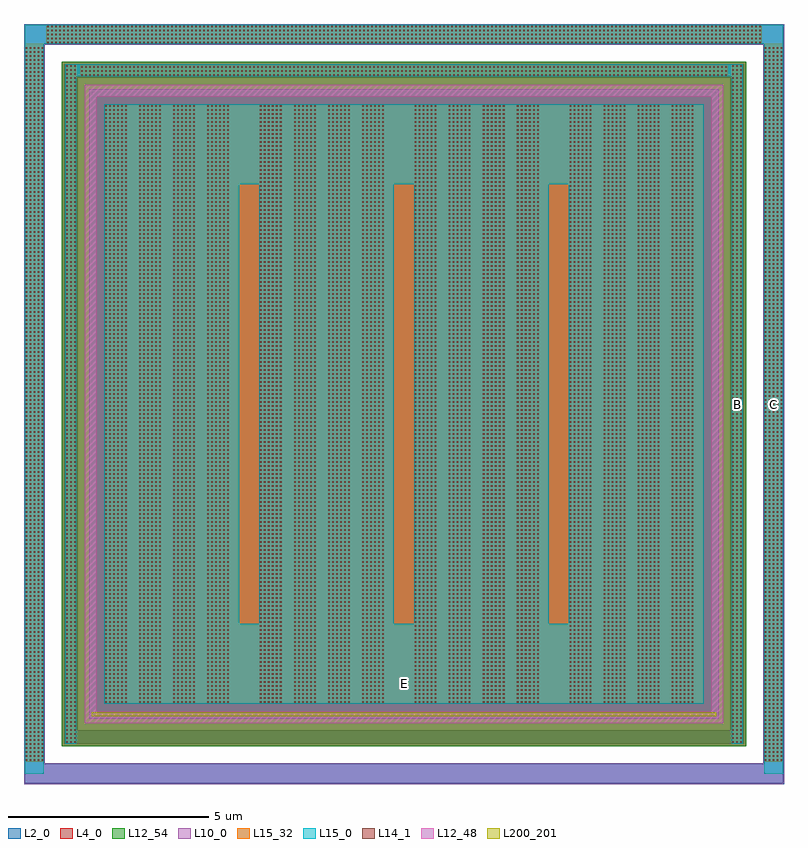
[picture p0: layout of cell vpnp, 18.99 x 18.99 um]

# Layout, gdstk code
import gdstk
lib = gdstk.Library(unit=1e-6, precision=1e-09)
def R(c, l, rs):  # rectangles x0, y0, x1, y1
    for r in rs: c.add(gdstk.rectangle(r[:2], r[2:], *l))
def A(c, l, x, y, w, h, nx, ny, dx, dy):  # array of equal rectangles
    R(c, l, [(x+i*dx, y+j*dy, x+i*dx+w, y+j*dy+h) for i in range(nx) for j in range(ny)])
L2_0 = (2, 0)
L4_0 = (4, 0)
L10_0 = (10, 0)
L12_48 = (12, 48)
L12_54 = (12, 54)
L14_1 = (14, 1)
L15_0 = (15, 0)
L15_32 = (15, 32)
L200_201 = (200, 201)

vpnp = lib.new_cell('vpnp')
R(vpnp, L2_0, [(-15.979,-8.009,2.973,-7.529), (-15.979,-7.529,-15.499,10.463), (2.493,-7.529,2.973,10.463), (-14.999,-7.029,1.993,-6.689), (-14.999,-6.689,-14.659,9.623), (1.653,-6.689,1.993,9.623), (-14.303,-6.333,1.297,9.267), (-14.999,9.623,1.993,9.963), (-15.979,10.463,2.973,10.943)])
R(vpnp, L4_0, [(-15.055,-7.085,2.049,10.019)])
R(vpnp, L10_0, [(-16,-8.03,2.994,-7.508), (-16,-7.508,-15.478,10.442), (2.472,-7.508,2.994,10.442), (-14.373,-6.403,1.367,9.337), (-16,10.442,2.994,10.964)])
R(vpnp, L12_48, [(-14.484,-6.514,1.478,-6.208), (-14.484,-6.208,-14.178,9.142), (1.172,-6.208,1.478,9.142), (-14.484,9.142,1.478,9.448)])
R(vpnp, L12_54, [(-15.055,-7.085,2.049,10.019)])
A(vpnp, L14_1, -15.959, -7.453, 0.04, 0.04, 5, 179, 0.1, 0.1)
A(vpnp, L14_1, 2.513, -7.453, 0.04, 0.04, 5, 179, 0.1, 0.1)
A(vpnp, L14_1, -14.949, -7.003, 0.04, 0.04, 3, 170, 0.1, 0.1)
A(vpnp, L14_1, 1.703, -7.003, 0.04, 0.04, 3, 170, 0.1, 0.1)
A(vpnp, L14_1, -13.973, -6.003, 0.04, 0.04, 6, 150, 0.1, 0.1)
A(vpnp, L14_1, -13.121, -6.003, 0.04, 0.04, 6, 150, 0.1, 0.1)
A(vpnp, L14_1, -12.269, -6.003, 0.04, 0.04, 6, 150, 0.1, 0.1)
A(vpnp, L14_1, -11.417, -6.003, 0.04, 0.04, 6, 150, 0.1, 0.1)
A(vpnp, L14_1, -10.104, -6.003, 0.04, 0.04, 6, 150, 0.1, 0.1)
A(vpnp, L14_1, -9.252, -6.003, 0.04, 0.04, 6, 150, 0.1, 0.1)
A(vpnp, L14_1, -8.4, -6.003, 0.04, 0.04, 6, 150, 0.1, 0.1)
A(vpnp, L14_1, -7.548, -6.003, 0.04, 0.04, 6, 150, 0.1, 0.1)
A(vpnp, L14_1, -6.235, -6.003, 0.04, 0.04, 6, 150, 0.1, 0.1)
A(vpnp, L14_1, -5.383, -6.003, 0.04, 0.04, 6, 150, 0.1, 0.1)
A(vpnp, L14_1, -4.531, -6.003, 0.04, 0.04, 6, 150, 0.1, 0.1)
A(vpnp, L14_1, -3.679, -6.003, 0.04, 0.04, 6, 150, 0.1, 0.1)
A(vpnp, L14_1, -2.366, -6.003, 0.04, 0.04, 6, 150, 0.1, 0.1)
A(vpnp, L14_1, -1.514, -6.003, 0.04, 0.04, 6, 150, 0.1, 0.1)
A(vpnp, L14_1, -0.662, -6.003, 0.04, 0.04, 6, 150, 0.1, 0.1)
A(vpnp, L14_1, 0.19, -6.003, 0.04, 0.04, 6, 150, 0.1, 0.1)
A(vpnp, L14_1, -14.573, 9.673, 0.04, 0.04, 162, 3, 0.1, 0.1)
A(vpnp, L14_1, -15.423, 10.483, 0.04, 0.04, 179, 5, 0.1, 0.1)
A(vpnp, L15_0, -13.991, -4.021, 3.369, 10.976, 4, 1, 3.869, 0)
R(vpnp, L15_0, [(-15.977,-7.769,-15.501,10.941), (2.495,-7.769,2.971,10.941), (-14.967,-7.021,-14.691,9.955), (1.685,-7.021,1.961,9.955), (-13.991,-6.021,0.985,-4.021), (-13.991,6.955,0.985,8.955), (-14.691,9.655,1.685,9.955), (-15.501,10.465,2.495,10.941)])
R(vpnp, L15_32, [(-15.977,-7.471,-15.501,10.465), (2.495,-7.471,2.971,10.465), (-14.967,-7.021,-14.691,9.955), (1.685,-7.021,1.961,9.955), (-13.991,-6.021,0.985,8.955), (-14.591,9.655,1.585,9.931), (-15.441,10.465,2.435,10.941)])
R(vpnp, L200_201, [(-14.303,-6.333,1.297,-6.233)])
vpnp.add(gdstk.Label('E', (-6.503,-5.521), layer=15, texttype=20))
vpnp.add(gdstk.Label('B', (1.823,1.467), layer=15, texttype=20))
vpnp.add(gdstk.Label('C', (2.733,1.467), layer=15, texttype=20))

lib.write_gds('vpnp.gds')
